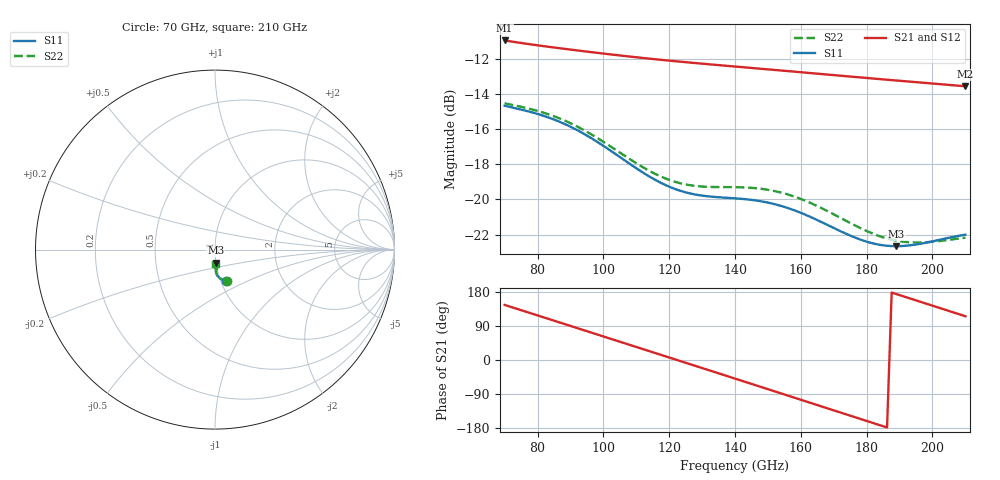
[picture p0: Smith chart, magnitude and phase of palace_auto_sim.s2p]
#  GHZ S DB R 50
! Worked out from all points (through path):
!   101 points, 70 GHz to 210 GHz, reference 50 ohm
!   highest |S21| = -10.97 dB at 70 GHz (marker M1); lowest = -13.6 dB at 210 GHz (marker M2)
!   group delay of S21, straight-line fit = 7.74 ps
!   lowest |S11| = -22.7 dB at 189 GHz (marker M3), VSWR 1.16, Z = 49.8 - j7.37 ohm
!   |S11| at or under -10 dB: start of sweep to end of sweep
!   |S22| runs from -22.4 to -14.5 dB; largest |S21 - S12| = 2.7e-13
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70  -14.68 -70.1  -10.97 145.3  -10.97 145.3  -14.54 -69.3
77  -14.99 -73.0  -11.17 126.0  -11.17 126.0  -14.82 -72.1
82.6  -15.30 -76.0  -11.31 110.5  -11.31 110.5  -15.12 -75.2
88.2  -15.71 -79.3  -11.45 94.9  -11.45 94.9  -15.52 -78.6
93.8  -16.24 -82.6  -11.58 79.4  -11.58 79.4  -16.03 -81.8
99.4  -16.88 -85.3  -11.70 63.8  -11.70 63.8  -16.65 -84.4
106.4  -17.77 -87.4  -11.85 44.4  -11.85 44.4  -17.51 -86.5
112  -18.47 -87.9  -11.96 28.8  -11.96 28.8  -18.17 -86.8
117.6  -19.07 -87.3  -12.07 13.3  -12.07 13.3  -18.71 -86.2
123.2  -19.50 -86.2  -12.17 -2.3  -12.17 -2.3  -19.07 -85.1
128.8  -19.75 -85.2  -12.27 -17.9  -12.27 -17.9  -19.25 -84.3
140  -19.93 -85.3  -12.45 -49.1  -12.45 -49.1  -19.30 -85.0
147  -20.07 -87.0  -12.56 -68.6  -12.56 -68.6  -19.37 -87.4
152.6  -20.29 -88.9  -12.65 -84.3  -12.65 -84.3  -19.55 -89.8
158.2  -20.63 -90.7  -12.74 -99.9  -12.74 -99.9  -19.85 -92.3
163.8  -21.07 -92.0  -12.84 -115.6  -12.84 -115.6  -20.27 -94.5
176.4  -22.16 -91.6  -13.04 -150.8  -13.04 -150.8  -21.47 -96.2
182  -22.50 -89.8  -13.13 -166.4  -13.13 -166.4  -21.95 -95.2
187.6  -22.65 -87.7  -13.22 178.0  -13.22 178.0  -22.28 -93.4
189  -22.65 -87.1  -13.24 174.1  -13.24 174.1  -22.34 -92.9
198.8  -22.43 -84.8  -13.40 146.7  -13.40 146.7  -22.42 -89.8
210  -22.00 -85.8  -13.57 115.4  -13.57 115.4  -22.17 -89.0
